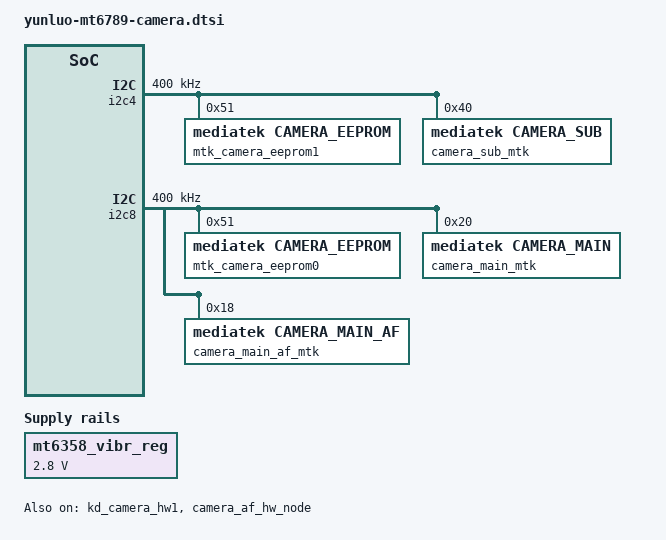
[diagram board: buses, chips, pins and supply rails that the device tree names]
// SPDX-License-Identifier: GPL-2.0
/* Copyright (c) 2020 MediaTek Inc. */
/* CAMERA GPIO standardization */
&pio {
	camera_pins_cam0_rst_0: cam0@0 {
		pins_cmd_dat {
			pinmux = <PINMUX_GPIO18__FUNC_GPIO18>;
			slew-rate = <1>;
			output-low;
		};
	};
	camera_pins_cam0_rst_1: cam0@1 {
		pins_cmd_dat {
			pinmux = <PINMUX_GPIO18__FUNC_GPIO18>;
			slew-rate = <1>;
			output-high;
		};
	};
	camera_pins_cam1_rst_0: cam1@0 {
		pins_cmd_dat {
			pinmux = <PINMUX_GPIO16__FUNC_GPIO16>;
			slew-rate = <1>;
			output-low;
		};
	};
	camera_pins_cam1_rst_1: cam1@1 {
		pins_cmd_dat {
			pinmux = <PINMUX_GPIO16__FUNC_GPIO16>;
			slew-rate = <1>;
			output-high;
		};
	};
	camera_pins_cam0_vcama_0: cam0@2 {
		pins_cmd_dat {
			pinmux = <PINMUX_GPIO0__FUNC_GPIO0>;
			slew-rate = <1>;
			output-low;
		};
	};
	camera_pins_cam0_vcama_1: cam0@3 {
		pins_cmd_dat {
			pinmux = <PINMUX_GPIO0__FUNC_GPIO0>;
			slew-rate = <1>;
			output-high;
		};
	};
	camera_pins_cam0_vcamd_0: cam0@4 {
		pins_cmd_dat {
			pinmux = <PINMUX_GPIO159__FUNC_GPIO159>;
			slew-rate = <1>;
			output-low;
		};
	};
	camera_pins_cam0_vcamd_1: cam0@5 {
		pins_cmd_dat {
			pinmux = <PINMUX_GPIO159__FUNC_GPIO159>;
			slew-rate = <1>;
			output-high;
		};
	};
	camera_pins_cam1_vcama_0: cam1@2 {
		pins_cmd_dat {
			pinmux = <PINMUX_GPIO158__FUNC_GPIO158>;
			slew-rate = <1>;
			output-low;
		};
	};
	camera_pins_cam1_vcama_1: cam1@3 {
		pins_cmd_dat {
			pinmux = <PINMUX_GPIO158__FUNC_GPIO158>;
			slew-rate = <1>;
			output-high;
		};
	};
	camera_pins_cam1_vcamd_0: cam1@4 {
		pins_cmd_dat {
			pinmux = <PINMUX_GPIO157__FUNC_GPIO157>;
			slew-rate = <1>;
			output-low;
		};
	};
	camera_pins_cam1_vcamd_1: cam1@5 {
		pins_cmd_dat {
			pinmux = <PINMUX_GPIO157__FUNC_GPIO157>;
			slew-rate = <1>;
			output-high;
		};
	};
	camera_pins_cam0_mclk_off: camera_pins_cam0_mclk_off {
		pins_cmd_dat {
			pinmux = <PINMUX_GPIO127__FUNC_GPIO127>;
			drive-strength = <1>;
		};
	};
	camera_pins_cam0_mclk_2ma: camera_pins_cam0_mclk_2ma {
		pins_cmd_dat {
			pinmux = <PINMUX_GPIO127__FUNC_CMMCLK1>;
			drive-strength = <0>;
		};
	};
	camera_pins_cam0_mclk_4ma: camera_pins_cam0_mclk_4ma {
		pins_cmd_dat {
			pinmux = <PINMUX_GPIO127__FUNC_CMMCLK1>;
			drive-strength = <1>;
		};
	};
	camera_pins_cam0_mclk_6ma: camera_pins_cam0_mclk_6ma {
		pins_cmd_dat {
			pinmux = <PINMUX_GPIO127__FUNC_CMMCLK1>;
			drive-strength = <2>;
		};
	};
	camera_pins_cam0_mclk_8ma: camera_pins_cam0_mclk_8ma {
		pins_cmd_dat {
			pinmux = <PINMUX_GPIO127__FUNC_CMMCLK1>;
			drive-strength = <3>;
		};
	};
	camera_pins_cam1_mclk_off: camera_pins_cam1_mclk_off {
		pins_cmd_dat {
			pinmux = <PINMUX_GPIO126__FUNC_GPIO126>;
			drive-strength = <1>;
		};
	};
	camera_pins_cam1_mclk_2ma: camera_pins_cam1_mclk_2ma {
		pins_cmd_dat {
			pinmux = <PINMUX_GPIO126__FUNC_CMMCLK0>;
			drive-strength = <0>;
		};
	};
	camera_pins_cam1_mclk_4ma: camera_pins_cam1_mclk_4ma {
		pins_cmd_dat {
			pinmux = <PINMUX_GPIO126__FUNC_CMMCLK0>;
			drive-strength = <1>;
		};
	};
	camera_pins_cam1_mclk_6ma: camera_pins_cam1_mclk_6ma {
		pins_cmd_dat {
			pinmux = <PINMUX_GPIO126__FUNC_CMMCLK0>;
			drive-strength = <2>;
		};
	};
	camera_pins_cam1_mclk_8ma: camera_pins_cam1_mclk_8ma {
		pins_cmd_dat {
			pinmux = <PINMUX_GPIO126__FUNC_CMMCLK0>;
			drive-strength = <3>;
		};
	};
	camera_pins_default: camdefault {
	};
};
&kd_camera_hw1 {
	pinctrl-names = "default",
			"cam0_rst0", "cam0_rst1",
			"cam1_rst0", "cam1_rst1",
			"cam0_ldo_vcama_0", "cam0_ldo_vcama_1",
			"cam0_ldo_vcamd_0", "cam0_ldo_vcamd_1",
			"cam1_ldo_vcama_0", "cam1_ldo_vcama_1",
			"cam0_mclk_off",
			"cam0_mclk_2mA", "cam0_mclk_4mA",
			"cam0_mclk_6mA", "cam0_mclk_8mA",
			"cam1_mclk_off",
			"cam1_mclk_2mA", "cam1_mclk_4mA",
			"cam1_mclk_6mA", "cam1_mclk_8mA";
	pinctrl-0 = <&camera_pins_default>;
	pinctrl-1 = <&camera_pins_cam0_rst_0>;
	pinctrl-2 = <&camera_pins_cam0_rst_1>;
	pinctrl-3 = <&camera_pins_cam1_rst_0>;
	pinctrl-4 = <&camera_pins_cam1_rst_1>;
	pinctrl-5 = <&camera_pins_cam0_vcama_0>;
	pinctrl-6 = <&camera_pins_cam0_vcama_1>;
	pinctrl-7 = <&camera_pins_cam0_vcamd_0>;
	pinctrl-8 = <&camera_pins_cam0_vcamd_1>;
	pinctrl-9 = <&camera_pins_cam1_vcama_0>;
	pinctrl-10 = <&camera_pins_cam1_vcama_1>;
	pinctrl-11 = <&camera_pins_cam0_mclk_off>;
	pinctrl-12 = <&camera_pins_cam0_mclk_2ma>;
	pinctrl-13 = <&camera_pins_cam0_mclk_4ma>;
	pinctrl-14 = <&camera_pins_cam0_mclk_6ma>;
	pinctrl-15 = <&camera_pins_cam0_mclk_8ma>;
	pinctrl-16 = <&camera_pins_cam1_mclk_off>;
	pinctrl-17 = <&camera_pins_cam1_mclk_2ma>;
	pinctrl-18 = <&camera_pins_cam1_mclk_4ma>;
	pinctrl-19 = <&camera_pins_cam1_mclk_6ma>;
	pinctrl-20 = <&camera_pins_cam1_mclk_8ma>;

	cam0_vcamio-supply = <&mt6358_vsim1_reg>;
	cam1_vcamio-supply = <&mt6358_vsim1_reg>;
	cam1_vcamd-supply = <&mt6358_vrf12_reg>;

	cam0_pin_mclk = "mclk";
	cam0_pin_rst = "gpio";
	cam0_pin_vcama = "gpio";
	cam0_pin_vcamio = "regulator";
	cam0_pin_vcamd = "gpio";

	cam1_pin_mclk = "mclk";
	cam1_pin_rst = "gpio";
	cam1_pin_vcama = "gpio";
	cam1_pin_vcamio = "regulator";
	cam1_pin_vcamd = "regulator";

	status = "okay";

	cam0_enable_sensor = "gc08a3_mipi_raw";
	cam1_enable_sensor = "hi846_mipi_raw";
};
/* CAMERA GPIO end */

/* CAMERA EEPROM */

&i2c4 {
	status = "okay";
	clock-frequency = <400000>;
	#address-cells = <1>;
	#size-cells = <0>;

	mtk_camera_eeprom1:camera_eeprom1@51 {
		compatible = "mediatek,camera_eeprom";
		reg = <0x51>;
		status = "okay";
	};
	camera_sub_mtk:camera_sub@40 {
		compatible = "mediatek,camera_sub";
		#thermal-sensor-cells = <0>;
		reg = <0x40>;
		status = "okay";
	};
};

&mt6358_vibr_reg{
	regulator-min-microvolt = <2800000>;
	regulator-max-microvolt = <2800000>;
};

&camera_af_hw_node{
	camaf_m1_pmic-supply = <&mt6358_vibr_reg>;
	status = "okay";
};

&i2c8 {
	status = "okay";
	clock-frequency = <400000>;
	#address-cells = <1>;
	#size-cells = <0>;

	mtk_camera_eeprom0:camera_eeprom0@51 {
		compatible = "mediatek,camera_eeprom";
		reg = <0x51>;
		status = "okay";
	};
	camera_main_mtk:camera_main@20 {
		compatible = "mediatek,camera_main";
		#thermal-sensor-cells = <0>;
		reg = <0x20>;
		status = "okay";
	};
	camera_main_af_mtk:camera_main_af@18 {
		compatible = "mediatek,CAMERA_MAIN_AF";
		reg = <0x18>;
		status = "okay";
	};
};
/* CAMERA EEPROM end */
